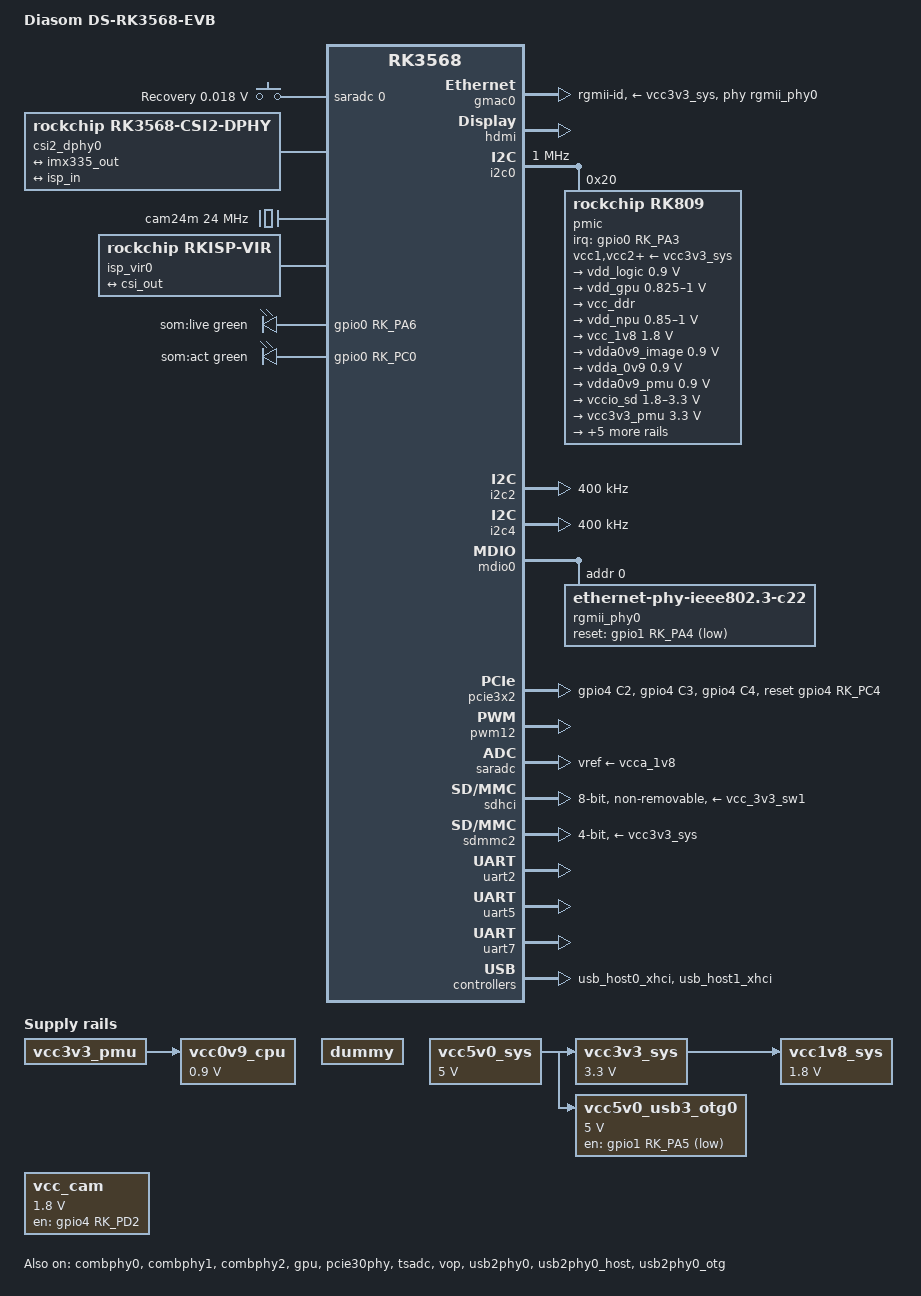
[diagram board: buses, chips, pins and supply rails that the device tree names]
/* SPDX-License-Identifier: GPL-2.0+ */
/* SPDX-FileCopyrightText: Alexander Shiyan <shc_work@mail.ru> */

/dts-v1/;

#include <arm64/rockchip/rk3568.dtsi>
#include <dt-bindings/gpio/gpio.h>
#include <dt-bindings/input/input.h>
#include <dt-bindings/leds/common.h>
#include <dt-bindings/soc/rockchip,vop2.h>

#include "rk356x.dtsi"

#define USBOTG_HOST

/ {
	model = "Diasom DS-RK3568-EVB";
	compatible = "diasom,ds-rk3568-evb", "rockchip,rk3568";
	chassis-type = "embedded";

	aliases {
		camera0 = &imx335;
		ethernet0 = &gmac0;
		mmc0 = &sdmmc2;
		mmc1 = &sdhci;
	};

	chosen: chosen {
		stdout-path = "serial2:1500000n8";

		environment-emmc {
			compatible = "barebox,environment";
			device-path = &sdhci, "partname:env";
			status = "disabled";
		};

		environment-sd {
			compatible = "barebox,environment";
			device-path = &sdmmc2, "partname:env";
			status = "disabled";
		};
	};

	adc-keys {
		compatible = "adc-keys";
		io-channels = <&saradc 0>;
		io-channel-names = "buttons";
		keyup-threshold-microvolt = <1300000>;
		poll-interval = <100>;

		button-recovery {
			label = "Recovery";
			linux,code = <KEY_VENDOR>;
			press-threshold-microvolt = <18000>;
		};
	};

	csi2_dphy0: csi2-dphy0 {
		compatible = "rockchip,rk3568-csi2-dphy";
		rockchip,hw = <&csi2_dphy_hw>;

		ports {
			#address-cells = <1>;
			#size-cells = <0>;

			port@0 {
				reg = <0>;
				#address-cells = <1>;
				#size-cells = <0>;

				imx335_in: endpoint@0 {
					reg = <0>;
					remote-endpoint = <&imx335_out>;
					data-lanes = <1 2>;
				};
			};

			port@1 {
				reg = <1>;

				csi_out: endpoint {
					remote-endpoint = <&isp_in>;
					data-lanes = <1 2>;
				};
			};
		};
	};

	cam24m: cam24m {
		compatible = "fixed-clock";
		#clock-cells = <0>;
		clock-frequency = <24000000>;
		clock-output-names = "cam24m";
	};

	csi2_dphy_hw: csi2-dphy-hw@fe870000 {
		compatible = "rockchip,rk3568-csi2-dphy-hw";
		reg = <0x0 0xfe870000 0x0 0x1000>;
		clocks = <&cru PCLK_MIPICSIPHY>;
		clock-names = "pclk";
		rockchip,grf = <&grf>;
	};

	isp: rkisp@fdff0000 {
		compatible = "rockchip,rk3568-rkisp";
		reg = <0x0 0xfdff0000 0x0 0x10000>;
		interrupts = <GIC_SPI 57 IRQ_TYPE_LEVEL_HIGH>,
			     <GIC_SPI 58 IRQ_TYPE_LEVEL_HIGH>,
			     <GIC_SPI 60 IRQ_TYPE_LEVEL_HIGH>;
		interrupt-names = "mipi_irq", "mi_irq", "isp_irq";
		clocks = <&cru ACLK_ISP>, <&cru HCLK_ISP>, <&cru CLK_ISP>;
		clock-names = "aclk_isp", "hclk_isp", "clk_isp";
		resets = <&cru SRST_ISP>, <&cru SRST_H_ISP>;
		reset-names = "isp", "isp-h";
		rockchip,grf = <&grf>;
		power-domains = <&power RK3568_PD_VI>;
		iommus = <&isp_mmu>;
		rockchip,iq-feature = /bits/ 64 <0x1BFBFFFE67FF>;
	};

	isp_mmu: iommu@fdff1a00 {
		compatible = "rockchip,rk3568-iommu";
		reg = <0x0 0xfdff1a00 0x0 0x100>;
		interrupts = <GIC_SPI 59 IRQ_TYPE_LEVEL_HIGH>;
		clocks = <&cru ACLK_ISP>, <&cru HCLK_ISP>;
		clock-names = "aclk", "iface";
		power-domains = <&power RK3568_PD_VI>;
		rockchip,disable-mmu-reset;
		#iommu-cells = <0>;
	};

	isp_vir0: rkisp-vir0 {
		compatible = "rockchip,rkisp-vir";
		rockchip,hw = <&isp>;

		port {
			#address-cells = <1>;
			#size-cells = <0>;

			isp_in: endpoint@0 {
				reg = <0>;
				remote-endpoint = <&csi_out>;
			};
		};
	};

	/* Should be added in 6.8+ */
	/*
	 * There are no private per-core L2 caches, but only the
	 * L3 cache that appears to the CPU cores as L2 caches
	 */
	l3_cache: l3-cache {
		compatible = "cache";
		cache-level = <2>;
		cache-unified;
		cache-size = <0x80000>;
		cache-line-size = <64>;
		cache-sets = <512>;
	};

	leds {
		compatible = "gpio-leds";
		pinctrl-names = "default";
		pinctrl-0 = <&leds_pins>;

		led-live {
			label = "som:live";
			gpios = <&gpio0 RK_PA6 GPIO_ACTIVE_HIGH>;
			function = LED_FUNCTION_HEARTBEAT;
			color = <LED_COLOR_ID_GREEN>;
			linux,default-trigger = LED_FUNCTION_HEARTBEAT;
			default-state = "off";
			panic-indicator;
		};

		led-act {
			label = "som:act";
			gpios = <&gpio0 RK_PC0 GPIO_ACTIVE_HIGH>;
			function = LED_FUNCTION_ACTIVITY;
			color = <LED_COLOR_ID_GREEN>;
			linux,default-trigger = LED_FUNCTION_ACTIVITY;
			default-state = "off";
		};
	};

	dummy: dummy-regulator {
		compatible = "regulator-fixed";
		regulator-name = "dummy";
	};

	vcc0v9_cpu: vcc0v9-cpu-regulator {
		compatible = "regulator-fixed";
		regulator-name = "0v9_cpu";
		regulator-min-microvolt = <900000>;
		regulator-max-microvolt = <900000>;
		vin-supply = <&vcc3v3_pmu>;
	};

	vcc1v8_sys: vcc1v8-sys-regulator {
		compatible = "regulator-fixed";
		regulator-name = "1v8_sys";
		regulator-min-microvolt = <1800000>;
		regulator-max-microvolt = <1800000>;
		vin-supply = <&vcc3v3_sys>;
	};

	vcc3v3_sys: vcc3v3-sys-regulator {
		compatible = "regulator-fixed";
		regulator-name = "3v3_sys";
		regulator-min-microvolt = <3300000>;
		regulator-max-microvolt = <3300000>;
		vin-supply = <&vcc5v0_sys>;
	};

	vcc5v0_sys: vcc5v0-sys-regulator {
		compatible = "regulator-fixed";
		regulator-name = "5v0_sys";
		regulator-min-microvolt = <5000000>;
		regulator-max-microvolt = <5000000>;
	};

	vcc5v0_usb3_otg0: vcc5v0-usb3-otg0-regulator {
		pinctrl-names = "default";
		pinctrl-0 = <&usb3_otg0_en_pins>;
		compatible = "regulator-fixed";
		gpio = <&gpio1 RK_PA5 GPIO_ACTIVE_LOW>;
		regulator-name = "vcc5v0_usb3_otg0";
		regulator-min-microvolt = <5000000>;
		regulator-max-microvolt = <5000000>;
		startup-delay-us = <20000>;
		vin-supply = <&vcc5v0_sys>;
	};

	vcc_cam: vcc-cam-regulator {
		pinctrl-names = "default";
		pinctrl-0 = <&csi0_pwr>;
		compatible = "regulator-fixed";
		regulator-name = "vcc_cam";
		gpio = <&gpio4 RK_PD2 GPIO_ACTIVE_HIGH>;
		enable-active-high;
		regulator-min-microvolt = <1800000>;
		regulator-max-microvolt = <1800000>;
	};
};

/delete-node/ &xin32k;

&combphy0 {
	/* USB3.0 OTG0 */
	status = "okay";
};

&combphy1 {
	/* USB3.0 HOST1 */
	status = "okay";
};

&combphy2 {
	/* PCI-E 2.0 */
	// phy-supply = <&vcc3v3_pcie20>;
	status = "okay";
};

&cpu0 {
	cpu-supply = <&vcc0v9_cpu>;
	/* Should be added in 6.8+ */
	i-cache-size = <0x8000>;
	i-cache-line-size = <64>;
	i-cache-sets = <128>;
	d-cache-size = <0x8000>;
	d-cache-line-size = <64>;
	d-cache-sets = <128>;
	next-level-cache = <&l3_cache>;
};

&cpu1 {
	cpu-supply = <&vcc0v9_cpu>;
	/* Should be added in 6.8+ */
	i-cache-size = <0x8000>;
	i-cache-line-size = <64>;
	i-cache-sets = <128>;
	d-cache-size = <0x8000>;
	d-cache-line-size = <64>;
	d-cache-sets = <128>;
	next-level-cache = <&l3_cache>;
};

&cpu2 {
	cpu-supply = <&vcc0v9_cpu>;
	/* Should be added in 6.8+ */
	i-cache-size = <0x8000>;
	i-cache-line-size = <64>;
	i-cache-sets = <128>;
	d-cache-size = <0x8000>;
	d-cache-line-size = <64>;
	d-cache-sets = <128>;
	next-level-cache = <&l3_cache>;
};

&cpu3 {
	cpu-supply = <&vcc0v9_cpu>;
	/* Should be added in 6.8+ */
	i-cache-size = <0x8000>;
	i-cache-line-size = <64>;
	i-cache-sets = <128>;
	d-cache-size = <0x8000>;
	d-cache-line-size = <64>;
	d-cache-sets = <128>;
	next-level-cache = <&l3_cache>;
};

&cpu0_opp_table {
	/delete-node/ opp-1608000000;
	/delete-node/ opp-1800000000;
	/delete-node/ opp-1992000000;

	opp-1008000000 {
		opp-hz = /bits/ 64 <1008000000>;
		opp-microvolt = <900000 900000 1150000>;
	};
};

&dsi_dphy0 {
	status = "disabled";
};

&gmac0 {
	assigned-clocks = <&cru SCLK_GMAC0_RX_TX>, <&cru SCLK_GMAC0>;
	assigned-clock-parents = <&cru SCLK_GMAC0_RGMII_SPEED>;
	assigned-clock-rates = <0>, <125000000>;
	pinctrl-names = "default";
	pinctrl-0 = <&gmac0_miim &gmac0_tx_bus2 &gmac0_rx_bus2 &gmac0_rgmii_clk &gmac0_rgmii_bus>;
	clock_in_out = "output";
	phy-handle = <&rgmii_phy0>;
	phy-mode = "rgmii-id";
	phy-supply = <&vcc3v3_sys>;
	status = "okay";
};

&gpu {
	mali-supply = <&vdd_gpu>;
	status = "okay";
};

&hdmi {
	avdd-0v9-supply = <&vdda0v9_image>;
	avdd-1v8-supply = <&vcca1v8_image>;
	status = "okay";
};

&i2c0 {
	clock-frequency = <1000000>;
	status = "okay";

	pmic@20 {
		pinctrl-names = "default";
		pinctrl-0 = <&pmic_pins &pmic_int_pins &clk32k_in>;
		compatible = "rockchip,rk809";
		reg = <0x20>;
		interrupt-parent = <&gpio0>;
		interrupts = <RK_PA3 IRQ_TYPE_LEVEL_LOW>;
		rockchip,system-power-controller;
		vcc1-supply = <&vcc3v3_sys>;
		vcc2-supply = <&vcc3v3_sys>;
		vcc3-supply = <&vcc3v3_sys>;
		vcc4-supply = <&vcc3v3_sys>;
		vcc5-supply = <&vcc3v3_sys>;
		vcc6-supply = <&vcc3v3_sys>;
		vcc7-supply = <&vcc3v3_sys>;
		vcc8-supply = <&vcc3v3_sys>;
		vcc9-supply = <&vcc3v3_sys>;
		clock-output-names = "xin32k";
		wakeup-source;
		#clock-cells = <1>;

		regulators {
			vdd_logic: DCDC_REG1 {
				regulator-name = "vdd_logic";
				regulator-always-on;
				regulator-boot-on;
				regulator-initial-mode = <0x2>;
				regulator-min-microvolt = <900000>;
				regulator-max-microvolt = <900000>;
				regulator-ramp-delay = <6001>;

				regulator-state-mem {
					regulator-off-in-suspend;
				};
			};

			vdd_gpu: DCDC_REG2 {
				regulator-name = "vdd_gpu";
				regulator-always-on;
				regulator-initial-mode = <0x2>;
				regulator-min-microvolt = <825000>;
				regulator-max-microvolt = <1000000>;			
				regulator-ramp-delay = <6001>;

				regulator-state-mem {
					regulator-off-in-suspend;
				};
			};

			vcc_ddr: DCDC_REG3 {
				regulator-name = "vcc_ddr";
				regulator-always-on;
				regulator-boot-on;
				regulator-initial-mode = <0x2>;

				regulator-state-mem {
					regulator-on-in-suspend;
				};
			};

			vdd_npu: DCDC_REG4 {
				regulator-name = "vdd_npu";
				regulator-initial-mode = <0x2>;
				regulator-min-microvolt = <850000>;
				regulator-max-microvolt = <1000000>;
				regulator-ramp-delay = <6001>;

				regulator-state-mem {
					regulator-off-in-suspend;
				};
			};

			vcc_1v8: DCDC_REG5 {
				regulator-name = "vcc_1v8";
				regulator-always-on;
				regulator-boot-on;
				regulator-min-microvolt = <1800000>;
				regulator-max-microvolt = <1800000>;

				regulator-state-mem {
					regulator-off-in-suspend;
				};
			};

			vdda0v9_image: LDO_REG1 {
				regulator-name = "vdda0v9_image";
				/* Temporary hack regulator-always-on and regulator-boot-on
				   properties until we have regulator handling for dsi & lvds nodes
				*/
				regulator-always-on;
				regulator-boot-on;
				regulator-min-microvolt = <900000>;
				regulator-max-microvolt = <900000>;

				regulator-state-mem {
					regulator-off-in-suspend;
				};
			};

			vdda_0v9: LDO_REG2 {
				regulator-name = "vdda_0v9";
				regulator-always-on;
				regulator-boot-on;
				regulator-min-microvolt = <900000>;
				regulator-max-microvolt = <900000>;

				regulator-state-mem {
					regulator-off-in-suspend;
				};
			};

			vdda0v9_pmu: LDO_REG3 {
				regulator-name = "vdda0v9_pmu";
				regulator-always-on;
				regulator-boot-on;
				regulator-min-microvolt = <900000>;
				regulator-max-microvolt = <900000>;

				regulator-state-mem {
					regulator-on-in-suspend;
					regulator-suspend-microvolt = <900000>;
				};
			};

			vccio_sd: LDO_REG5 {
				regulator-name = "vccio_sd";
				regulator-always-on;
				regulator-min-microvolt = <1800000>;
				regulator-max-microvolt = <3300000>;

				regulator-state-mem {
					regulator-off-in-suspend;
				};
			};

			vcc3v3_pmu: LDO_REG6 {
				regulator-name = "vcc3v3_pmu";
				regulator-always-on;
				regulator-boot-on;
				regulator-min-microvolt = <3300000>;
				regulator-max-microvolt = <3300000>;

				regulator-state-mem {
					regulator-on-in-suspend;
					regulator-suspend-microvolt = <3300000>;
				};
			};

			vcca_1v8: LDO_REG7 {
				regulator-name = "vcca_1v8";
				regulator-always-on;
				regulator-boot-on;
				regulator-min-microvolt = <1800000>;
				regulator-max-microvolt = <1800000>;

				regulator-state-mem {
					regulator-off-in-suspend;
				};
			};

			vcca1v8_pmu: LDO_REG8 {
				regulator-name = "vcca1v8_pmu";
				regulator-always-on;
				regulator-boot-on;
				regulator-min-microvolt = <1800000>;
				regulator-max-microvolt = <1800000>;

				regulator-state-mem {
					regulator-on-in-suspend;
					regulator-suspend-microvolt = <1800000>;
				};
			};

			vcca1v8_image: LDO_REG9 {
				regulator-name = "vcca1v8_image";
				/* Temporary hack regulator-always-on and regulator-boot-on
				   properties until we have regulator handling for dsi & lvds nodes
				*/
				regulator-always-on;
				regulator-boot-on;
				regulator-min-microvolt = <1800000>;
				regulator-max-microvolt = <1800000>;

				regulator-state-mem {
					regulator-off-in-suspend;
				};
			};

			vcc_3v3_sw1: SWITCH_REG1 {
				regulator-name = "vcc_3v3_sw1";
				regulator-always-on;
				regulator-boot-on;

				regulator-state-mem {
					regulator-off-in-suspend;
				};
			};

			vcc_3v3_sw2: SWITCH_REG2 {
				regulator-name = "vcc_3v3_sw2";
				regulator-always-on;
				regulator-boot-on;

				regulator-state-mem {
					regulator-off-in-suspend;
				};
			};
		};
	};
};

&i2c1 {
	/* FUSB302 is not detected at 1MHz, so lets reduce frequency to 400KHz */
	clock-frequency = <400000>;
	status = "disabled";
};

&i2c2 {
	clock-frequency = <400000>;
	pinctrl-0 = <&i2c2m1_xfer>;
	status = "okay";
};

&i2c3 {
	clock-frequency = <400000>;
	pinctrl-0 = <&i2c3m0_xfer>;
	status = "disabled";
};

&i2c4 {
	clock-frequency = <400000>;
	status = "okay";

	imx335: camera@1a {
		compatible = "sony,imx335";
		reg = <0x1a>;
		clocks = <&xin24m>;
		power-domains = <&power RK3568_PD_VI>;
		avdd-supply = <&vcc_cam>;
		dvdd-supply = <&vcc_cam>;
		ovdd-supply = <&vcc_cam>;
		status = "disabled";

		port {
			imx335_out: endpoint {
				data-lanes = <1 2>;
				remote-endpoint = <&imx335_in>;
				link-frequencies = /bits/ 64 <594000000>;
			};
		};
	};
};

&mdio0 {
	rgmii_phy0: phy@0 {
		pinctrl-names = "default";
		pinctrl-0 = <&gmac0_rst_pins>;
		compatible = "ethernet-phy-ieee802.3-c22";
		reg = <0x0>;
		reset-assert-us = <20000>;
		reset-deassert-us = <100000>;
		reset-gpios = <&gpio1 RK_PA4 GPIO_ACTIVE_LOW>;
	};
};

&pcie2x1 {
	pinctrl-names = "default";
	pinctrl-0 = <&pcie20_pins>;
	reset-gpios = <&gpio1 RK_PB2 GPIO_ACTIVE_HIGH>;
	// vpcie3v3-supply = <&vcc3v3_pcie20>;
	status = "disabled";
};


&pcie3x2 {
	pinctrl-names = "default";
	pinctrl-0 = <&pcie30_pins>;
	reset-gpios = <&gpio4 RK_PC4 GPIO_ACTIVE_HIGH>;
	// vpcie3v3-supply = <&vcc3v3_pi6c>;
	status = "okay";
};

&pcie30phy {
	// phy-supply = <&vcc3v3_pcie30>;
	status = "okay";
};

&pmu_io_domains {
	pmuio1-supply = <&vcc3v3_pmu>;
	pmuio2-supply = <&vcc3v3_pmu>;
	vccio1-supply = <&vcc_1v8>;
	vccio2-supply = <&vcc_1v8>;
	vccio3-supply = <&vccio_sd>;
	vccio4-supply = <&vcc_1v8>;
	vccio5-supply = <&vcc_1v8>;
	vccio6-supply = <&vcc_1v8>;
	vccio7-supply = <&vcc_3v3_sw1>;
	status = "okay";
};

&pwm5 {
	status = "disabled";
};

&pwm6 {
	status = "disabled";
};

&pwm12 {
	pinctrl-0 = <&pwm12m1_pins>;
	status = "okay";
};

&pwm13 {
	pinctrl-0 = <&pwm13m1_pins>;
	status = "disabled";
};

&saradc {
	vref-supply = <&vcca_1v8>;
	status = "okay";
};

&sdhci {
	pinctrl-names = "default";
	pinctrl-0 = <&emmc_bus8 &emmc_clk &emmc_cmd &emmc_datastrobe &emmc_rstnout>;
	bus-width = <8>;
	max-frequency = <200000000>;
	non-removable;
	no-mmc-hs400;
	no-sd;
	no-sdio;
	vmmc-supply = <&vcc_3v3_sw1>;
	vqmmc-supply = <&vcc_1v8>;
	status = "okay";
};

&sdmmc2 {
	pinctrl-names = "default";
	pinctrl-0 = <&sdmmc2m0_bus4 &sdmmc2m0_clk &sdmmc2m0_cmd>;
	bus-width = <4>;
	cap-mmc-highspeed;
	cap-sd-highspeed;
	disable-wp;
	sd-uhs-sdr12;
	sd-uhs-sdr25;
	sd-uhs-sdr50;
	sd-uhs-sdr104;
	vmmc-supply = <&vcc3v3_sys>;
	vqmmc-supply = <&vcc_1v8>;
	status = "okay";
};

&tsadc {
	rockchip,hw-tshut-temp = <95000>;
	rockchip,hw-tshut-mode = <0>;
	rockchip,hw-tshut-polarity = <0>;
	status = "okay";
};

&vop {
	assigned-clocks = <&cru DCLK_VOP0>, <&cru DCLK_VOP1>;
	assigned-clock-parents = <&pmucru PLL_HPLL>, <&cru PLL_VPLL>;
	status = "okay";
};

&vop_mmu {
	status = "okay";
};

&uart2 {
	status = "okay";
};

&uart5 {
	pinctrl-0 = <&uart5m0_xfer>;
	status = "okay";
};

&uart7 {
	pinctrl-0 = <&uart7m1_xfer>;// &uart7m0_ctsn &uart7m0_rtsn>;
	/* Should be added in 6.8+ */
	// dma-names = "tx", "rx";
	status = "okay";
};

&uart8 {
	pinctrl-0 = <&uart8m0_xfer &uart8m0_ctsn &uart8m0_rtsn>;
	/* Should be added in 6.8+ */
	dma-names = "tx", "rx";
	status = "disabled";
};

&uart9 {
	pinctrl-0 = <&uart9m1_xfer>;
	/* Should be added in 6.8+ */
	dma-names = "tx", "rx";
	status = "disabled";
};

&usb_host0_xhci {
	status = "okay";
// 	hnp-disable;
// 	srp-disable;
};

&usb_host1_xhci {
	status = "okay";
};

&usb2phy0 {
	status = "okay";
};

&usb2phy0_host {
	// phy-supply = <&vcc5v0_usb3_host1>;
	status = "okay";
};

&usb2phy0_otg {
	status = "okay";
};

&pinctrl {
	pinctrl-0 = <&board_pins>;
	pinctrl-names = "default";

	board {
		board_pins: board-pins {
			rockchip,pins =
				<3 RK_PC2 RK_FUNC_GPIO &pcfg_pull_up>,
				<3 RK_PD5 RK_FUNC_GPIO &pcfg_pull_up>,
				<3 RK_PC1 RK_FUNC_GPIO &pcfg_pull_up>,
				<4 RK_PC1 RK_FUNC_GPIO &pcfg_pull_up>,
				<1 RK_PA6 RK_FUNC_GPIO &pcfg_pull_up>,
				<0 RK_PA4 RK_FUNC_GPIO &pcfg_pull_up>,
				<3 RK_PD4 RK_FUNC_GPIO &pcfg_pull_up>;
				// <2 RK_PA1 RK_FUNC_GPIO &pcfg_pull_up>,
				// <2 RK_PA2 RK_FUNC_GPIO &pcfg_pull_up>;
		};
	};

	csi {
		csi0_pwr: csi0-pwr-pins {
			rockchip,pins =
				<4 RK_PD2 RK_FUNC_GPIO &pcfg_pull_up>;		/* CSI_PWREN0 */
		};
		csi1_pwr: csi1-pwr-pins {
			rockchip,pins =
					<0 RK_PA0 RK_FUNC_GPIO &pcfg_pull_up>;		/* CSI_PWREN1 */
		};

		csi1_rst: csi1-rst-pins {
			rockchip,pins =
				<0 RK_PD4 RK_FUNC_GPIO &pcfg_pull_up>;		/* CSI_RESET0# */
		};
	};

	leds {
		leds_pins: leds-pins {
			rockchip,pins =
				<0 RK_PA6 RK_FUNC_GPIO &pcfg_pull_none>,	/* LED1 */
				<0 RK_PC0 RK_FUNC_GPIO &pcfg_pull_none>;	/* LED2 */
		};
	};

	net {
		gmac0_rst_pins: gmac0-rst-pins {
			rockchip,pins =
				<1 RK_PA4 RK_FUNC_GPIO &pcfg_pull_none>;	/* GMAC0_RST */
		};
	};

	pcie20 {
		pcie20_pins: pcie20-pins {
			rockchip,pins =
				<1 RK_PB0 4 &pcfg_pull_none>,			/* PCIE20_CLKREQn_M1 */
				<1 RK_PB1 4 &pcfg_pull_none>,			/* PCIE20_WAKEn_M1 */
				<1 RK_PB2 RK_FUNC_GPIO &pcfg_pull_up>;	/* PCIE20_PERST */
		};
	};

	pcie30 {
		pcie30_pins: pcie30-pins {
			rockchip,pins =
				<4 RK_PC2 4 &pcfg_pull_none>,			/* PCIE30X2_CLKREQn_M2 */
				<4 RK_PC3 4 &pcfg_pull_none>,			/* PCIE30X2_WAKEn_M2 */
				<4 RK_PC4 RK_FUNC_GPIO &pcfg_pull_up>;		/* PCIE30X2_PERSTn_M2 */
		};
	};

	pmic {
		pmic_int_pins: pmic-int-pins {
			rockchip,pins =
				<0 RK_PA3 RK_FUNC_GPIO &pcfg_pull_up>;		/* PMIC_IRQ# */
		};
	};

	usb {
		usb3_otg0_en_pins: usb3-otg0-en-pins {
			rockchip,pins =
				<1 RK_PA5 RK_FUNC_GPIO &pcfg_pull_none>;	/* USB3_OTG0_EN */
		};
	};
};
